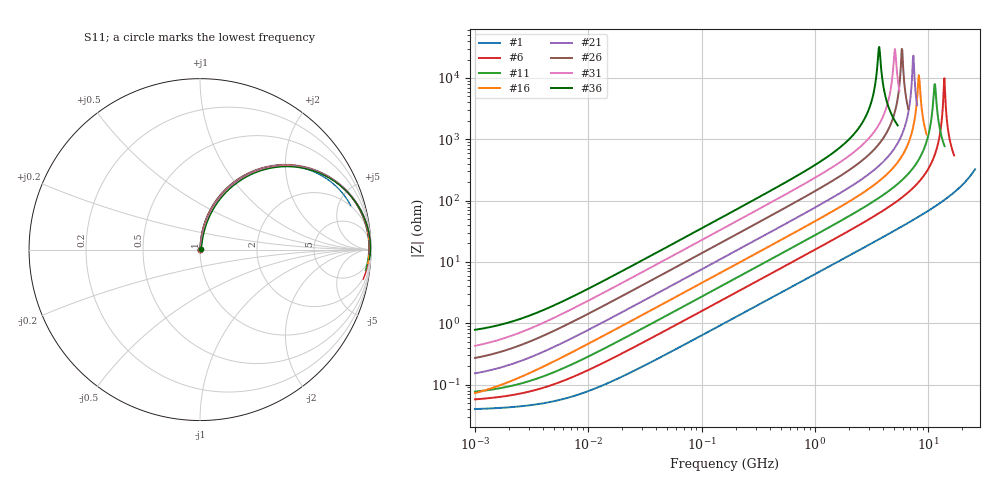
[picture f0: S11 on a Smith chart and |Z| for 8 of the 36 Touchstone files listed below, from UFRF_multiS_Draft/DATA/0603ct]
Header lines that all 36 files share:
# MHz  S  MA  R  50
!Freq  MagS11  AngS11  MagS21  AngS21  MagS12  AngS12  MagS22  AngS22
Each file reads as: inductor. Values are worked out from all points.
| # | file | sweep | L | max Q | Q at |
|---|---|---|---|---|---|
| 1 | 0603CT_1N0.s2p | 1 MHz to 26 GHz | 1 nH | 114 | 6.288 GHz |
| 2 | 0603CT_1N2.s2p | 1 MHz to 26 GHz | 1.2 nH | 97.3 | 4.903 GHz |
| 3 | 0603CT_2N0.s2p | 1 MHz to 18 GHz | 2 nH | 101 | 4.483 GHz |
| 4 | 0603CT_2N2.s2p | 1 MHz to 17.5 GHz | 2.2 nH | 113 | 4.619 GHz |
| 5 | 0603CT_2N3.s2p | 1 MHz to 17 GHz | 2.3 nH | 123 | 4.619 GHz |
| 6 | 0603CT_2N5.s2p | 1 MHz to 17 GHz | 2.5 nH | 112 | 4.483 GHz |
| 7 | 0603CT_3N0.s2p | 1 MHz to 17 GHz | 3 nH | 121 | 4.395 GHz |
| 8 | 0603CT_3N3.s2p | 1 MHz to 16 GHz | 3.3 nH | 128 | 5.001 GHz |
| 9 | 0603CT_3N6.s2p | 1 MHz to 16 GHz | 3.6 nH | 137 | 4.665 GHz |
| 10 | 0603CT_3N9.s2p | 1 MHz to 14 GHz | 3.9 nH | 138 | 3.638 GHz |
| 11 | 0603CT_4N3.s2p | 1 MHz to 14 GHz | 4.3 nH | 111 | 3.228 GHz |
| 12 | 0603CT_4N7.s2p | 1 MHz to 15 GHz | 4.7 nH | 111 | 3.496 GHz |
| 13 | 0603CT_5N1.s2p | 1 MHz to 16 GHz | 5.1 nH | 141 | 4.528 GHz |
| 14 | 0603CT_5N6.s2p | 1 MHz to 13 GHz | 5.6 nH | 122 | 3.326 GHz |
| 15 | 0603CT_6N8.s2p | 1 MHz to 9.7 GHz | 6.8 nH | 93.6 | 2.517 GHz |
| 16 | 0603CT_7N2.s2p | 1 MHz to 9.7 GHz | 7.2 nH | 98.1 | 2.443 GHz |
| 17 | 0603CT_8N2.s2p | 1 MHz to 9.7 GHz | 8.2 nH | 99.8 | 2.542 GHz |
| 18 | 0603CT_9N5.s2p | 1 MHz to 9 GHz | 9.5 nH | 95 | 2.517 GHz |
| 19 | 0603CT_10N.s2p | 1 MHz to 8.5 GHz | 10 nH | 107 | 2.699 GHz |
| 20 | 0603CT_11N.s2p | 1 MHz to 8.3 GHz | 11 nH | 108 | 2.865 GHz |
| 21 | 0603CT_12N.s2p | 1 MHz to 8 GHz | 12 nH | 102 | 2.419 GHz |
| 22 | 0603CT_15N.s2p | 1 MHz to 7.5 GHz | 15 nH | 92.5 | 2.234 GHz |
| 23 | 0603CT_16N.s2p | 1 MHz to 7.3 GHz | 16 nH | 86.2 | 1.982 GHz |
| 24 | 0603CT_18N.s2p | 1 MHz to 7.3 GHz | 18 nH | 88.3 | 2.043 GHz |
| 25 | 0603CT_20N.s2p | 1 MHz to 7.3 GHz | 20 nH | 95.6 | 2.125 GHz |
| 26 | 0603CT_22N.s2p | 1 MHz to 6.7 GHz | 22 nH | 83.2 | 1.943 GHz |
| 27 | 0603CT_24N.s2p | 1 MHz to 6.5 GHz | 24 nH | 78.8 | 1.849 GHz |
| 28 | 0603CT_27N.s2p | 1 MHz to 6.5 GHz | 27 nH | 82.9 | 2.043 GHz |
| 29 | 0603CT_30N.s2p | 1 MHz to 5.8 GHz | 30 nH | 78.5 | 1.777 GHz |
| 30 | 0603CT_33N.s2p | 1 MHz to 5.6 GHz | 33 nH | 66.1 | 1.625 GHz |
| 31 | 0603CT_36N.s2p | 1 MHz to 5.6 GHz | 36 nH | 73.8 | 1.577 GHz |
| 32 | 0603CT_39N.s2p | 1 MHz to 5.5 GHz | 39 nH | 68.6 | 1.471 GHz |
| 33 | 0603CT_43N.s2p | 1 MHz to 5.5 GHz | 43 nH | 62.3 | 1.413 GHz |
| 34 | 0603CT_47N.s2p | 1 MHz to 5.4 GHz | 47 nH | 71.5 | 1.471 GHz |
| 35 | 0603CT_51N.s2p | 1 MHz to 5.4 GHz | 51 nH | 64.6 | 1.456 GHz |
| 36 | 0603CT_56N.s2p | 1 MHz to 5.4 GHz | 56 nH | 65.8 | 1.182 GHz |
